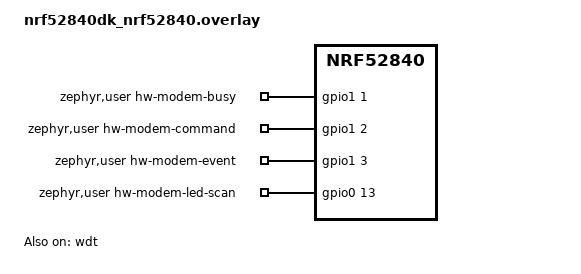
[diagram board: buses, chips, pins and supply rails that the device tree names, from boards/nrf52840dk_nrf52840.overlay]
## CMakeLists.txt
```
# Copyright (c) 2024 Semtech Corporation - Félix Piédallu
# SPDX-License-Identifier: Apache-2.0

cmake_minimum_required(VERSION 3.13.1)

find_package(Zephyr HINTS $ENV{ZEPHYR_BASE})
project(ping_pong)

zephyr_compile_options(-fdiagnostics-color=always)


zephyr_include_directories(.)
add_subdirectory(${CMAKE_CURRENT_SOURCE_DIR}/../common src/common)
add_subdirectory(src)
```

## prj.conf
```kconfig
# Copyright (c) 2024 Semtech Corporation - Félix Piédallu
# SPDX-License-Identifier: Apache-2.0

# Enable logging (it need to be disabled for low power)
CONFIG_PRINTK=y
CONFIG_GPIO=y
CONFIG_SERIAL=y
CONFIG_CONSOLE=y
CONFIG_UART_CONSOLE=y
CONFIG_LOG=y
# CONFIG_LOG_DEFAULT_LEVEL=4
CONFIG_LOG_BACKEND_UART=n

# Required for this sample
CONFIG_TEST_RANDOM_GENERATOR=y
CONFIG_SHELL=y

# Enable LR11XX support
CONFIG_LORA_BASICS_MODEM_DRIVERS=y
CONFIG_LORA_BASICS_MODEM_DRIVERS_LOG_LEVEL_INF=y
```

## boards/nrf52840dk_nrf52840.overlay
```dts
/*
 * Copyright (c) 2024 Semtech Corporation
 *
 * SPDX-License-Identifier: Apache-2.0
 */

/ {
	zephyr,user {
		/* PINS used for the HW modem sample. */
		hw-modem-busy-gpios = <&gpio1 1 GPIO_ACTIVE_HIGH>;
		hw-modem-command-gpios = <&gpio1 2 GPIO_ACTIVE_HIGH>;
		hw-modem-event-gpios = <&gpio1 3 GPIO_ACTIVE_HIGH>;
		hw-modem-led-scan-gpios = <&gpio0 13 GPIO_ACTIVE_HIGH>;
	};

	// soc {
	//     /delete-node/ spi@4002f000;
	//     spi2: arduino_spi: spi@40023000 {};
	// };

	aliases {
		smtc-watchdog = &wdt;
		smtc-lr11xx = &lora_semtech_lr11xxmb1xxs;
	};
};

&spi1 {
	status = "disabled";
};

&wdt {
	status = "okay";
};

&lora_semtech_lr11xxmb1xxs {
	tcxo-wakeup-time = <7>;
};
```

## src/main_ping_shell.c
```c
/*
 * Copyright (c) 2024 Semtech Corporation
 *
 * SPDX-License-Identifier: Apache-2.0
 */

#include <zephyr/kernel.h>
#include <zephyr/sys/util.h>
#include <zephyr/logging/log.h>
#include <zephyr/shell/shell.h>

#include <lr11xx_radio.h>
#include <lr11xx_system.h>
#include <lr11xx_system_types.h>
#include <lr11xx_regmem.h>

#include "apps_common.h"

LOG_MODULE_REGISTER(main);

#if DT_HAS_CHOSEN(lora)
#define LORA_TRANSCEIVER DT_CHOSEN(lora)
#else
#define LORA_TRANSCEIVER DT_NODELABEL(lora0)
#endif

const struct device *context = DEVICE_DT_GET(LORA_TRANSCEIVER);
const struct device *spi_bus = DEVICE_DT_GET(DT_BUS(LORA_TRANSCEIVER));

static uint8_t buffer_tx[PAYLOAD_LENGTH];

#define PING_PONG_PREFIX_SIZE 7
static const uint8_t prefix_size = MIN(PING_PONG_PREFIX_SIZE, PAYLOAD_LENGTH);

static const uint8_t ping_msg[PING_PONG_PREFIX_SIZE] = "PINGREQ";
static const uint8_t pong_msg[PING_PONG_PREFIX_SIZE] = "PINGREP";

#define DELAY_BEFORE_TX_MS 5
#define PING_TIMEOUT_MS 1500
#define IDLE_PING_TIMEOUT_MS 0xFFFFFF

#define STACKSIZE 1024

/**
 * @brief LR11xx interrupt mask used by the application
 */
#define IRQ_MASK                                                                                   \
	(LR11XX_SYSTEM_IRQ_TX_DONE | LR11XX_SYSTEM_IRQ_RX_DONE | LR11XX_SYSTEM_IRQ_TIMEOUT |       \
	 LR11XX_SYSTEM_IRQ_HEADER_ERROR | LR11XX_SYSTEM_IRQ_CRC_ERROR |                            \
	 LR11XX_SYSTEM_IRQ_FSK_LEN_ERROR)

K_THREAD_STACK_DEFINE(lora_event_handler_loop_stack_area, STACKSIZE);
struct k_thread lora_event_handler_loop_thread_data;
k_tid_t lora_event_handler_loop_thread;

void lora_event_handler_loop(void *p1, void *p2, void *p3)
{
	while (1) {
		apps_common_lr11xx_irq_process(context, IRQ_MASK);
		k_sleep(K_MSEC(1));
	}
}

int initialize_lora(void)
{
	apps_common_lr11xx_system_init(context);

	apps_common_lr11xx_fetch_and_print_version(context);

	apps_common_lr11xx_radio_init(context);

	int ret = 0;

	LOG_INF("Set dio irq mask");
	ret = lr11xx_system_set_dio_irq_params(context, IRQ_MASK, 0);
	if (ret) {
		LOG_ERR("Failed to set dio irq params.");
		return ret;
	}

	LOG_INF("Clear irq status");
	ret = lr11xx_system_clear_irq_status(context, LR11XX_SYSTEM_IRQ_ALL_MASK);
	if (ret) {
		LOG_ERR("Failed to set dio irq params.");
		return ret;
	}

	apps_common_lr11xx_enable_irq(context);

	lora_event_handler_loop_thread = k_thread_create(
		&lora_event_handler_loop_thread_data,
		lora_event_handler_loop_stack_area,
		K_THREAD_STACK_SIZEOF(lora_event_handler_loop_stack_area),
		lora_event_handler_loop, NULL, NULL, NULL,
		7, 0, K_NO_WAIT
	);

	return ret;
}

int set_rx_mode(const unsigned int timeout)
{
	LOG_INF("Set RX mode.");
	int ret = lr11xx_radio_set_rx(context, timeout);

	if (ret) {
		LOG_ERR("Failed to set RX mode.");
	}
	return ret;
}

int main(void)
{
	if (!device_is_ready(spi_bus)) {
		LOG_ERR("SPI bus is not ready yet!");
	}
	if (!device_is_ready(context)) {
		LOG_ERR("LR11xx is not ready yet!");
	}

	initialize_lora();

	set_rx_mode(IDLE_PING_TIMEOUT_MS);

	return 0;
}

static bool tx_done;
void on_tx_done(void)
{
	LOG_INF("on TX mode.");
	tx_done = true;
}

static int lorademo_ping_send(bool request_not_reply, int counter)
{
	int ret;

	/* Setup TX buffer */
	memcpy(buffer_tx, request_not_reply ? ping_msg : pong_msg, prefix_size);
	for (int i = prefix_size; i < PAYLOAD_LENGTH; i++) {
		buffer_tx[i] = counter;
	}

	ret = lr11xx_regmem_write_buffer8(context, buffer_tx, PAYLOAD_LENGTH);
	if (ret) {
		LOG_ERR("Failed to write buffer.");
		return 1;
	}

	tx_done = false;

	ret = lr11xx_radio_set_tx(context, 0);
	if (ret) {
		LOG_ERR("Failed to set TX mode.");
	}

	WAIT_FOR(tx_done, PING_TIMEOUT_MS*1000,
		apps_common_lr11xx_irq_process(context, IRQ_MASK); k_sleep(K_MSEC(2)));

	if (!tx_done) {
		LOG_ERR("Timeout when trying to send ping msg!\n");
		return 1;
	}
	return ret;
}

static bool rx_replies_done;
static int rx_counter;

void on_rx_done(void)
{
	uint8_t buffer_rx[PAYLOAD_LENGTH];
	uint8_t size;

	apps_common_lr11xx_receive(context, buffer_rx, sizeof(buffer_rx), &size);

	if (!memcmp(buffer_rx, ping_msg, prefix_size)) {
		/* This is a request message, sending a reply */
		int counter = buffer_rx[prefix_size];
		/* Wait a bit because tx->rx takes time? */
		k_msleep(DELAY_BEFORE_TX_MS);
		/* printk("ping request %d received\n", counter); */
		lorademo_ping_send(false, counter);

		/* go back to rx mode */
		set_rx_mode(IDLE_PING_TIMEOUT_MS);
	}
	if (!memcmp(buffer_rx, pong_msg, prefix_size)) {
		/* This is a reply message */
		rx_counter = buffer_rx[prefix_size];
		rx_replies_done = true;
	}
}

void on_rx_timeout(void)
{
	set_rx_mode(IDLE_PING_TIMEOUT_MS);
}

static int tx_counter;

static int cmd_lorademo_ping(const struct shell *sh, size_t argc, char **argv)
{
	shell_fprintf(sh, SHELL_NORMAL, "Sending ping %d...\n", tx_counter);
	int64_t sent_time = k_uptime_get();

	if (lorademo_ping_send(true, tx_counter)) {
		shell_fprintf(sh, SHELL_NORMAL, "Could not send ping request!\n");
		return 1;
	}
	tx_counter++;

	set_rx_mode(PING_TIMEOUT_MS);
	rx_replies_done = false;
	WAIT_FOR(rx_replies_done, PING_TIMEOUT_MS*1000, k_sleep(K_USEC(1000)));
	if (!rx_replies_done) {
		shell_fprintf(sh, SHELL_NORMAL, "Timeout!\n");
		return 1;
	}
	int64_t recv_time = k_uptime_get();
	int64_t ping_time = recv_time - sent_time;

	shell_fprintf(sh, SHELL_NORMAL, "Ping %d received in %lldms\n", rx_counter, ping_time);
	/* we will get back automatically to rx mode with idle timeout */
	set_rx_mode(IDLE_PING_TIMEOUT_MS);

	return 0;
}

SHELL_STATIC_SUBCMD_SET_CREATE(lorademo,
	SHELL_CMD_ARG(ping, NULL, "Ping LoRa friend device", cmd_lorademo_ping, 1, 0),
	SHELL_SUBCMD_SET_END
);

SHELL_CMD_REGISTER(lorademo, &lorademo, "LoRa demo commands", NULL);
```
